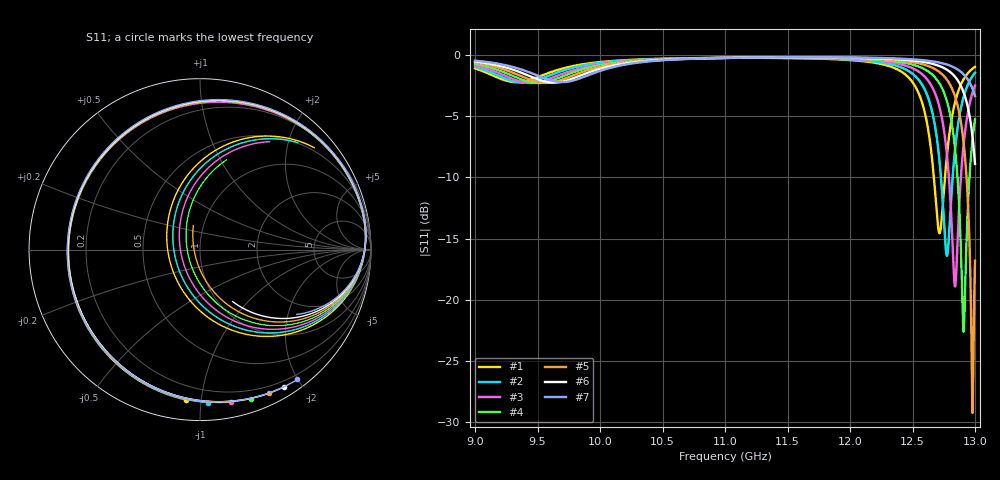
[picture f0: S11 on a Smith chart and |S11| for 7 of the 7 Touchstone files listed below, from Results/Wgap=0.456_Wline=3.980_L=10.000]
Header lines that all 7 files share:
! TOUCHSTONE file generated by CST DESIGN STUDIO
! Project name: C:\Work\MatlabApps\UnitCellOptimizationMatlab\CST\unitcell.cst
! Tree item: Tasks\Sweep1\SPara1\S-Parameters
! Header version: 2024
! Port assignment regex: !\s*Touchstone port\s*([0-9]+)\s*=\s*(CST MWS port|CST DES external port|CST DES block port)\s*(.+)\s* \(\"(.*)\"\)(\s*mode\s*([0-9]+))?.*
! Touchstone port assignment:
! Touchstone port 1 = CST DES external port 1 ("")
# GHz S MA R 50
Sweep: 9 GHz to 13 GHz
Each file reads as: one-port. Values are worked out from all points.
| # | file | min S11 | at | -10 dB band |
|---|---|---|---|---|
| 1 | DS_for_MWS-run-0001.s1p | -14.6 dB | 12.72 GHz | 88.39 MHz wide |
| 2 | DS_for_MWS-run-0002.s1p | -16.4 dB | 12.78 GHz | 93.33 MHz wide |
| 3 | DS_for_MWS-run-0003.s1p | -18.9 dB | 12.84 GHz | 95.74 MHz wide |
| 4 | DS_for_MWS-run-0004.s1p | -22.6 dB | 12.91 GHz | 95.75 MHz wide |
| 5 | DS_for_MWS-run-0005.s1p | -29.3 dB | 12.98 GHz | over 67.73 MHz wide |
| 6 | DS_for_MWS-run-0006.s1p | -8.9 dB | 13 GHz | - |
| 7 | DS_for_MWS-run-0007.s1p | -3.3 dB | 13 GHz | - |
